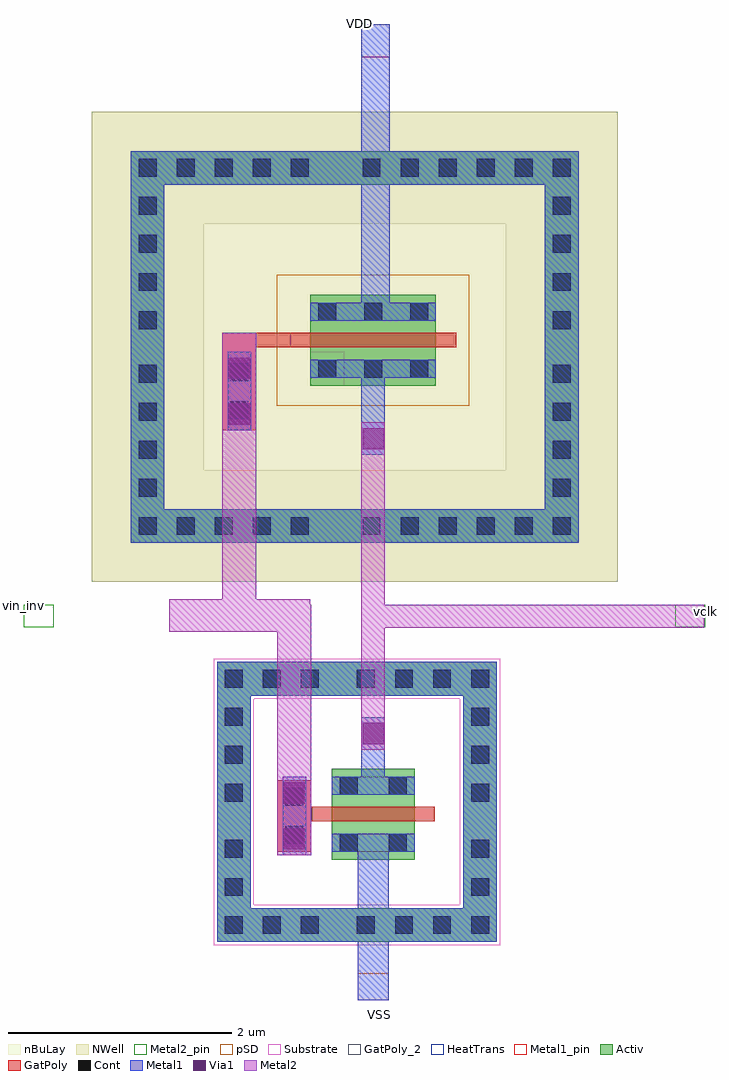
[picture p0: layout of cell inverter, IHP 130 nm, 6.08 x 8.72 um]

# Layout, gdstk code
from math import pi, radians
import gdstk
lib = gdstk.Library(unit=1e-6, precision=5e-09)
def R(c, l, rs):  # rectangles x0, y0, x1, y1
    for r in rs: c.add(gdstk.rectangle(r[:2], r[2:], *l))
def A(c, l, x, y, w, h, nx, ny, dx, dy):  # array of equal rectangles
    R(c, l, [(x+i*dx, y+j*dy, x+i*dx+w, y+j*dy+h) for i in range(nx) for j in range(ny)])
def P(c, l, *ps):  # polygons
    for p in ps: c.add(gdstk.Polygon(p, *l))
Activ = (1, 0)
GatPoly = (5, 0)
GatPoly_2 = (5, 2)
Cont = (6, 0)
Metal1 = (8, 0)
Metal1_pin = (8, 2)
Metal2 = (10, 0)
Metal2_pin = (10, 2)
pSD = (14, 0)
Via1 = (19, 0)
NWell = (31, 0)
nBuLay = (32, 0)
Substrate = (40, 0)
HeatTrans = (51, 0)

pmos_1 = lib.new_cell('pmos$1')
R(pmos_1, Activ, [(0,0,0.3,0.3), (0,0,0.81,1.12), (0.51,0,0.81,0.3)])
R(pmos_1, GatPoly, [(0.34,-0.18,0.47,1.3), (0.34,-0.18,0.47,1.3)])
A(pmos_1, Cont, 0.07, 0.07, 0.16, 0.16, 1, 3, 0, 0.41)
A(pmos_1, Cont, 0.58, 0.07, 0.16, 0.16, 1, 3, 0, 0.41)
R(pmos_1, Metal1, [(0.07,0,0.23,1.12), (0.07,0,0.23,1.12), (0.58,0,0.74,1.12), (0.58,0,0.74,1.12)])
R(pmos_1, pSD, [(-0.18,-0.3,0.99,1.42)])
R(pmos_1, NWell, [(-0.31,-0.31,1.12,1.43)])
R(pmos_1, Substrate, [(0.51,0,0.81,0.3)])
R(pmos_1, HeatTrans, [(0.34,-0.18,0.47,1.3)])
pmos_1.add(gdstk.Label('pmos', (0.405,0.56), layer=63, texttype=0))
pmos_1.add(gdstk.Label('pmos', (0.405,0.56), layer=51, texttype=0))

via_stack_1 = lib.new_cell('via_stack$1')
R(via_stack_1, Metal1, [(-0.145,-0.105,0.145,0.105)])
R(via_stack_1, Metal2, [(-0.145,-0.1,0.145,0.1)])
R(via_stack_1, Via1, [(-0.095,-0.095,0.095,0.095)])

guard_ring = lib.new_cell('guard_ring')
R(guard_ring, Activ, [(-2,-1.45,-1.7,1.45), (1.7,-1.45,2,1.45), (-2,1.45,2,1.75)])
P(guard_ring, Activ, [(-2,-1.75),(-2,1.45),(-1.7,1.45),(-1.7,-1.45),(1.7,-1.45),(1.7,1.45),(-2,1.45),(-2,1.75),(2,1.75),(2,-1.75)])
A(guard_ring, Cont, -1.93, -1.68, 0.16, 0.16, 5, 2, 0.34, 3.2)
A(guard_ring, Cont, 0.07, -1.68, 0.16, 0.16, 6, 2, 0.34, 3.2)
A(guard_ring, Cont, -1.93, -1.34, 0.16, 0.16, 1, 4, 0, 0.34)
A(guard_ring, Cont, 1.77, -1.34, 0.16, 0.16, 1, 4, 0, 0.34)
A(guard_ring, Cont, -1.93, 0.16, 0.16, 0.16, 1, 4, 0, 0.34)
A(guard_ring, Cont, 1.77, 0.16, 0.16, 0.16, 1, 4, 0, 0.34)
R(guard_ring, Metal1, [(-2,-1.75,2,-1.45), (-2,-1.45,-1.7,1.45), (1.7,-1.45,2,1.45), (-2,1.45,2,1.75)])
R(guard_ring, NWell, [(-2.35,-2.1,2.35,2.1)])
R(guard_ring, nBuLay, [(-2.35,-1.1,-1.35,1.1), (1.35,-1.1,2.35,1.1), (-2.35,1.1,2.35,2.1)])
P(guard_ring, nBuLay, [(-2.35,-2.1),(-2.35,1.1),(-1.35,1.1),(-1.35,-1.1),(1.35,-1.1),(1.35,1.1),(-2.35,1.1),(-2.35,2.1),(2.35,2.1),(2.35,-2.1)])
guard_ring.add(gdstk.Label('well', (0,-1.6), layer=63, texttype=0))

nmos_1 = lib.new_cell('nmos$1')
R(nmos_1, Activ, [(0,0,0.3,0.3), (0,0,0.81,0.74), (0.51,0,0.81,0.3)])
R(nmos_1, GatPoly, [(0.34,-0.18,0.47,0.92)])
R(nmos_1, GatPoly_2, [(0.34,-0.18,0.47,0.92)])
R(nmos_1, Cont, [(0.07,0.07,0.23,0.23), (0.58,0.07,0.74,0.23), (0.07,0.51,0.23,0.67), (0.58,0.51,0.74,0.67)])
R(nmos_1, Metal1, [(0.07,0,0.23,0.74), (0.58,0,0.74,0.74)])
R(nmos_1, Metal1_pin, [(0.07,0,0.23,0.74), (0.58,0,0.74,0.74)])
R(nmos_1, HeatTrans, [(0.34,-0.18,0.47,0.92)])
nmos_1.add(gdstk.Label('nmos', (0.405,0.37), layer=63, texttype=0))
nmos_1.add(gdstk.Label('nmos', (0.405,0.37), layer=51, texttype=0))

via_stack_3 = lib.new_cell('via_stack$3')
R(via_stack_3, GatPoly, [(-0.15,-0.32,0.15,0.32)])
R(via_stack_3, Cont, [(-0.08,-0.25,0.08,-0.09), (-0.08,0.09,0.08,0.25)])
R(via_stack_3, Metal1, [(-0.105,-0.35,0.105,0.35)])
R(via_stack_3, Metal2, [(-0.1,-0.35,0.1,0.35)])
R(via_stack_3, Via1, [(-0.095,-0.3,0.095,-0.11), (-0.095,0.11,0.095,0.3)])

guard_ring_1 = lib.new_cell('guard_ring$1')
R(guard_ring_1, Activ, [(-1.25,-0.95,-0.95,0.95), (0.95,-0.95,1.25,0.95), (-1.25,0.95,1.25,1.25)])
P(guard_ring_1, Activ, [(-1.25,-1.25),(-1.25,0.95),(-0.95,0.95),(-0.95,-0.95),(0.95,-0.95),(0.95,0.95),(-1.25,0.95),(-1.25,1.25),(1.25,1.25),(1.25,-1.25)])
A(guard_ring_1, Cont, -1.18, -1.18, 0.16, 0.16, 3, 2, 0.34, 2.2)
A(guard_ring_1, Cont, 0, -1.18, 0.16, 0.16, 4, 2, 0.34, 2.2)
A(guard_ring_1, Cont, -1.18, 0, 0.16, 0.16, 1, 3, 0, 0.34)
A(guard_ring_1, Cont, 1.02, 0, 0.16, 0.16, 1, 3, 0, 0.34)
R(guard_ring_1, Cont, [(-1.18,-0.84,-1.02,-0.68), (1.02,-0.84,1.18,-0.68), (-1.18,-0.5,-1.02,-0.34), (1.02,-0.5,1.18,-0.34)])
R(guard_ring_1, Metal1, [(-1.25,-1.25,1.25,-0.95), (-1.25,-0.95,-0.95,0.95), (0.95,-0.95,1.25,0.95), (-1.25,0.95,1.25,1.25)])
R(guard_ring_1, pSD, [(-1.28,-0.92,-0.92,0.92), (0.92,-0.92,1.28,0.92), (-1.28,0.92,1.28,1.28)])
P(guard_ring_1, pSD, [(-1.28,-1.28),(-1.28,0.92),(-0.92,0.92),(-0.92,-0.92),(0.92,-0.92),(0.92,0.92),(-1.28,0.92),(-1.28,1.28),(1.28,1.28),(1.28,-1.28)])
R(guard_ring_1, Substrate, [(-1.28,-0.92,-0.92,0.92), (0.92,-0.92,1.28,0.92), (-1.28,0.92,1.28,1.28)])
P(guard_ring_1, Substrate, [(-1.28,-1.28),(-1.28,0.92),(-0.92,0.92),(-0.92,-0.92),(0.92,-0.92),(0.92,0.92),(-1.28,0.92),(-1.28,1.28),(1.28,1.28),(1.28,-1.28)])
guard_ring_1.add(gdstk.Label('sub!', (0,-1.1), layer=63, texttype=0))

inverter = lib.new_cell('inverter')
R(inverter, GatPoly, [(0.22,-0.48,0.53,-0.35), (-0.365,3.015,-0.06,3.885), (-0.365,3.755,0.37,3.885)])
R(inverter, Metal1, [(0.845,-2.075,1.125,-1.165), (0.845,-1.465,1.125,-0.59), (0.88,-0.24,1.09,0.45), (0.88,2.795,1.09,3.645), (0.88,3.995,1.135,6.645)])
R(inverter, Metal1_pin, [(0.845,-2.075,1.125,-1.835), (0.88,6.35,1.135,6.645)])
R(inverter, Metal2, [(0.13,-0.78,0.43,1.455), (0.88,0.16,1.09,3.085), (-0.835,1.215,0.425,1.505), (0.88,1.25,3.945,1.455), (-0.365,1.255,-0.06,3.885)])
R(inverter, Metal2_pin, [(-2.135,1.255,-1.87,1.455), (3.685,1.255,3.95,1.455)])
inverter.add(gdstk.Reference(pmos_1, (0.425,4.225), rotation=3*pi/2))
inverter.add(gdstk.Reference(via_stack_1, (0.985,0.305), rotation=3*pi/2))
inverter.add(gdstk.Reference(guard_ring, (0.82,3.76)))
inverter.add(gdstk.Reference(via_stack_1, (0.985,2.94), rotation=3*pi/2))
inverter.add(gdstk.Reference(nmos_1, (0.615,-0.01), rotation=3*pi/2))
inverter.add(gdstk.Reference(via_stack_3, (0.28,-0.43)))
inverter.add(gdstk.Reference(guard_ring_1, (0.84,-0.305)))
inverter.add(gdstk.Reference(via_stack_3, (-0.21,3.365)))
inverter.add(gdstk.Label('VDD', (0.86,6.65), layer=8, texttype=2))
inverter.add(gdstk.Label('VSS', (1.045,-2.205), layer=8, texttype=2))
inverter.add(gdstk.Label('vclk', (3.95,1.4), layer=10, texttype=2))
inverter.add(gdstk.Label('vin_inv', (-2.155,1.45), layer=10, texttype=2))

lib.write_gds('inverter.gds')
